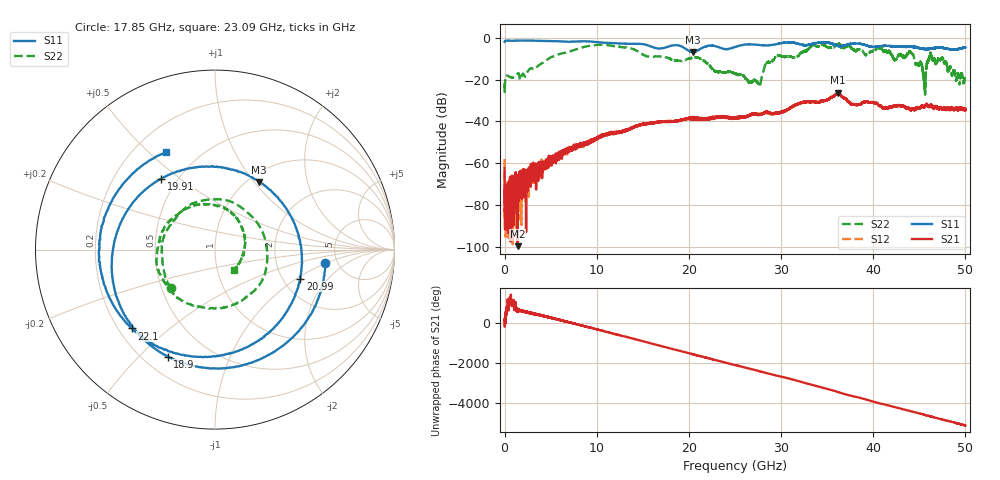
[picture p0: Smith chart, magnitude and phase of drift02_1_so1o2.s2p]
!Created with skrf (http://scikit-rf.org).
# Hz S RI R 50.0
!freq ReS11 ImS11 ReS21 ImS21 ReS12 ImS12 ReS22 ImS22
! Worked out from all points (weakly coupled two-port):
!   10001 points, 300 kHz to 50 GHz, reference 50 ohm
!   highest |S21| = -26.35 dB at 36.14 GHz (marker M1); lowest = -99.6 dB at 1.42 GHz (marker M2)
!   lowest |S11| = -6.9 dB at 20.41 GHz (marker M3), VSWR 2.63, Z = 56 + j52.9 ohm
!   |S11| at or under -10 dB: nowhere
!   |S22| runs from -27.2 to -2.7 dB; largest |S21 - S12| = 0.0045
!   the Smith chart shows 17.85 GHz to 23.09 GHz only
!   S11 on the Smith chart (normalised r, x): 17.85 GHz: 3.99, -0.96; 18.9 GHz: 0.29, -0.61; 19.91 GHz: 0.41, +0.43; 20.99 GHz: 2.48, -1.07; 22.1 GHz: 0.25, -0.38; 23.09 GHz: 0.33, +0.57
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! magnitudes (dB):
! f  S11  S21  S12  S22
! 300 kHz  -2.0  -62.4  -58.0  -21.9
! 255.3 MHz  -1.4  -71.4  -75.9  -18.2
! 1.42 GHz  -1.4  -99.6  -71.2  -17.2
! 8.335 GHz  -1.7  -51.5  -51.4  -4.8
! 16.67 GHz  -5.2  -40.4  -40.5  -8.9
! 17.85 GHz  -4.2  -40.1  -40.2  -9.8
! 18.9 GHz  -3.7  -39.7  -39.7  -11.0
! 19.91 GHz  -6.1  -38.4  -38.5  -10.0
! 20.41 GHz  -6.9  -38.3  -38.7  -9.7
! 20.99 GHz  -6.0  -38.6  -38.6  -9.5
! 22.1 GHz  -3.9  -38.7  -38.9  -12.7
! 23.09 GHz  -4.3  -38.2  -37.9  -16.3
! 25 GHz  -4.5  -38.4  -38.4  -17.2
! 27.6 GHz  -3.5  -36.6  -36.7  -22.2
! 28.5 GHz  -3.7  -35.5  -35.6  -12.0
! 33.34 GHz  -3.1  -30.7  -30.5  -3.8
! 36.14 GHz  -3.9  -26.3  -26.9  -3.2
! 41.67 GHz  -3.9  -33.2  -33.5  -6.3
! 44.12 GHz  -4.2  -34.4  -34.6  -7.3
! 45.52 GHz  -5.5  -33.2  -32.7  -20.2
! 46.23 GHz  -5.3  -32.2  -32.1  -7.5
! 50 GHz  -4.7  -34.1  -34.4  -18.6
